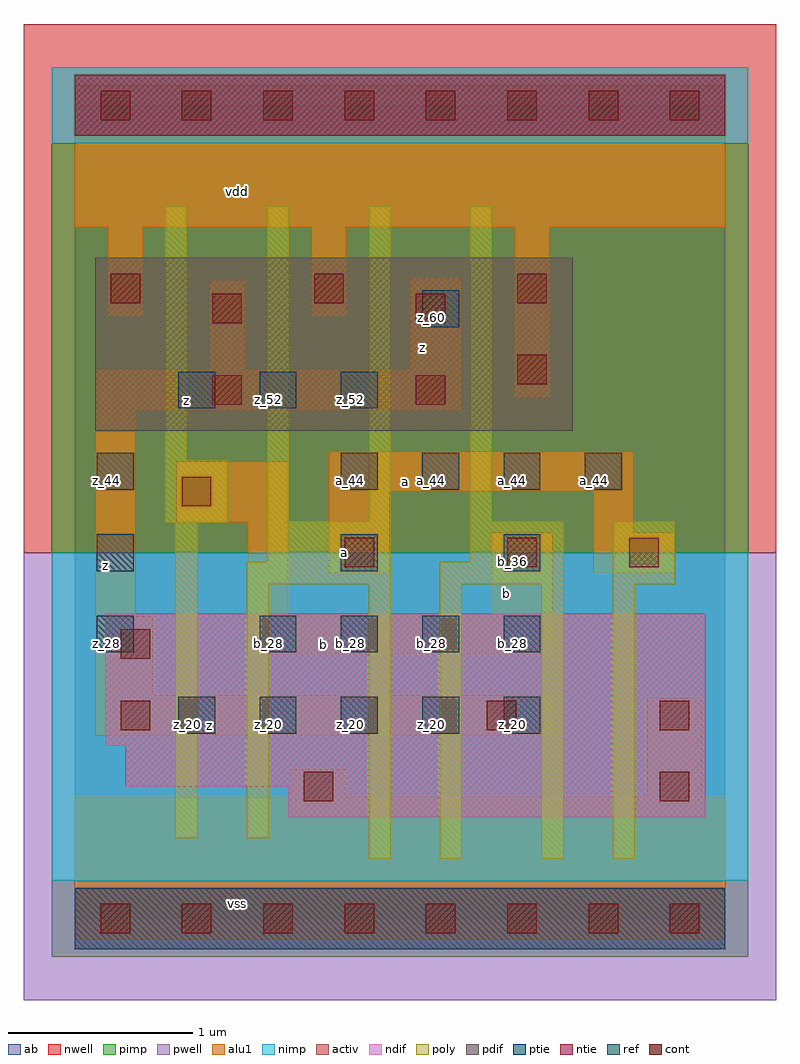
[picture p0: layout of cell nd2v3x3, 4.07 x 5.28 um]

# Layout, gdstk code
import gdstk
lib = gdstk.Library(unit=1e-6, precision=2.5e-09)
def R(c, l, rs):  # rectangles x0, y0, x1, y1
    for r in rs: c.add(gdstk.rectangle(r[:2], r[2:], *l))
def A(c, l, x, y, w, h, nx, ny, dx, dy):  # array of equal rectangles
    R(c, l, [(x+i*dx, y+j*dy, x+i*dx+w, y+j*dy+h) for i in range(nx) for j in range(ny)])
ndif = (3, 0)
pdif = (4, 0)
ntie = (5, 0)
ptie = (6, 0)
ref = (24, 0)
cont = (25, 0)
pwell = (41, 0)
nwell = (42, 0)
activ = (43, 0)
pimp = (44, 0)
nimp = (45, 0)
poly = (46, 0)
alu1 = (49, 0)
ab = (63, 0)

nd2v3x3 = lib.new_cell('nd2v3x3')
R(nd2v3x3, ndif, [(1.155,0.55,3.41,0.715), (0.275,0.715,3.41,0.935), (0.165,0.935,3.41,1.65)])
R(nd2v3x3, pdif, [(0.11,2.64,2.695,3.575)])
R(nd2v3x3, ntie, [(0,4.235,3.52,4.565)])
R(nd2v3x3, ptie, [(0,-0.165,3.52,0.165)])
A(nd2v3x3, ref, 0.56, 1, 0.2, 0.2, 5, 1, 0.44, 0)
A(nd2v3x3, ref, 0.12, 1.44, 0.2, 0.2, 1, 3, 0, 0.44)
A(nd2v3x3, ref, 1, 1.44, 0.2, 0.2, 4, 1, 0.44, 0)
A(nd2v3x3, ref, 1.44, 2.32, 0.2, 0.2, 4, 1, 0.44, 0)
A(nd2v3x3, ref, 0.56, 2.76, 0.2, 0.2, 3, 1, 0.44, 0)
R(nd2v3x3, ref, [(1.44,1.88,1.64,2.08), (2.32,1.88,2.52,2.08), (1.88,3.2,2.08,3.4)])
A(nd2v3x3, cont, 0.14, -0.08, 0.16, 0.16, 8, 2, 0.44, 4.4)
A(nd2v3x3, cont, 0.195, 3.33, 0.16, 0.16, 3, 1, 1.1, 0)
R(nd2v3x3, cont, [(1.24,0.635,1.4,0.795), (3.165,0.635,3.325,0.795), (0.25,1.02,0.41,1.18), (2.23,1.02,2.39,1.18), (3.165,1.02,3.325,1.18), (0.25,1.405,0.41,1.565), (1.46,1.9,1.62,2.06), (2.34,1.9,2.5,2.06), (3,1.9,3.16,2.06), (0.58,2.23,0.74,2.39), (0.745,2.78,0.905,2.94), (1.845,2.78,2.005,2.94), (2.395,2.89,2.555,3.05), (0.745,3.22,0.905,3.38), (1.845,3.22,2.005,3.38)])
R(nd2v3x3, pwell, [(-0.275,-0.44,3.795,1.98)])
R(nd2v3x3, nwell, [(-0.275,1.98,3.795,4.84)])
R(nd2v3x3, activ, [(0,-0.165,3.52,0.165), (1.155,0.55,3.41,0.715), (0.275,0.715,3.41,0.935), (0.165,0.935,3.41,1.65), (0.11,2.64,2.695,3.575), (0,4.235,3.52,4.565)])
R(nd2v3x3, pimp, [(-0.125,-0.205,3.645,0.205), (-0.125,1.98,3.645,4.195)])
R(nd2v3x3, nimp, [(-0.125,0.205,3.645,1.98), (-0.125,4.195,3.645,4.605)])
A(nd2v3x3, poly, 1.04, 2.15, 0.12, 1.705, 3, 1, 0.55, 0)
R(nd2v3x3, poly, [(1.59,0.325,1.71,1.81), (1.975,0.325,2.095,1.81), (2.525,0.325,2.645,1.81), (2.91,0.325,3.03,1.81), (0.545,0.435,0.665,2.14), (0.93,0.435,1.05,1.81), (0.93,1.81,1.71,1.93), (1.975,1.81,2.645,1.93), (2.91,1.81,3.25,2.15), (1.04,1.93,1.71,2.15), (2.14,1.93,2.645,2.15), (0.49,2.14,0.83,2.48), (0.49,2.48,0.61,3.855)])
R(nd2v3x3, alu1, [(0,-0.11,3.52,0.66), (1.17,0.66,1.47,0.81), (3.095,0.66,3.395,1.195), (0.11,0.99,2.585,1.21), (0.11,1.21,0.425,1.635), (0.935,1.43,2.585,1.65), (0.11,1.635,0.33,2.75), (0.935,1.65,1.155,2.145), (2.255,1.65,2.585,2.09), (1.375,1.87,1.705,2.31), (2.805,1.87,3.245,2.09), (2.805,2.09,3.025,2.31), (0.55,2.145,1.155,2.475), (1.375,2.31,3.025,2.53), (0.11,2.75,2.09,2.97), (2.38,2.82,2.57,3.74), (0.73,2.97,0.92,3.45), (1.815,2.97,2.09,3.465), (0.18,3.26,0.37,3.74), (1.28,3.26,1.47,3.74), (0,3.74,3.52,4.51)])
R(nd2v3x3, ab, [(0,0,3.52,4.4)])
nd2v3x3.add(gdstk.Label('vss', (0.88,0.0825), layer=49, texttype=0))
nd2v3x3.add(gdstk.Label('z', (0.7275,1.045), layer=49, texttype=0))
nd2v3x3.add(gdstk.Label('b', (1.3475,1.485), layer=49, texttype=0))
nd2v3x3.add(gdstk.Label('b', (2.3375,1.76), layer=49, texttype=0))
nd2v3x3.add(gdstk.Label('a', (1.4575,1.98), layer=49, texttype=0))
nd2v3x3.add(gdstk.Label('a', (1.7875,2.365), layer=49, texttype=0))
nd2v3x3.add(gdstk.Label('z', (0.165,1.9125), layer=49, texttype=0))
nd2v3x3.add(gdstk.Label('z', (0.605,2.805), layer=49, texttype=0))
nd2v3x3.add(gdstk.Label('z', (1.8825,3.0925), layer=49, texttype=0))
nd2v3x3.add(gdstk.Label('vdd', (0.88,3.9325), layer=49, texttype=0))
nd2v3x3.add(gdstk.Label('z_20', (0.61,1.05), layer=24, texttype=0))
nd2v3x3.add(gdstk.Label('z_52', (0.61,2.81), layer=24, texttype=0))
nd2v3x3.add(gdstk.Label('z_20', (1.05,1.05), layer=24, texttype=0))
nd2v3x3.add(gdstk.Label('b_28', (1.05,1.49), layer=24, texttype=0))
nd2v3x3.add(gdstk.Label('z_52', (1.05,2.81), layer=24, texttype=0))
nd2v3x3.add(gdstk.Label('z_20', (1.49,1.05), layer=24, texttype=0))
nd2v3x3.add(gdstk.Label('b_28', (1.49,1.49), layer=24, texttype=0))
nd2v3x3.add(gdstk.Label('a_36', (1.49,1.93), layer=24, texttype=0))
nd2v3x3.add(gdstk.Label('a_44', (1.49,2.37), layer=24, texttype=0))
nd2v3x3.add(gdstk.Label('z_52', (1.49,2.81), layer=24, texttype=0))
nd2v3x3.add(gdstk.Label('z_20', (1.93,1.05), layer=24, texttype=0))
nd2v3x3.add(gdstk.Label('b_28', (1.93,1.49), layer=24, texttype=0))
nd2v3x3.add(gdstk.Label('a_44', (1.93,2.37), layer=24, texttype=0))
nd2v3x3.add(gdstk.Label('z_60', (1.93,3.25), layer=24, texttype=0))
nd2v3x3.add(gdstk.Label('z_28', (0.17,1.49), layer=24, texttype=0))
nd2v3x3.add(gdstk.Label('z_36', (0.17,1.93), layer=24, texttype=0))
nd2v3x3.add(gdstk.Label('z_44', (0.17,2.37), layer=24, texttype=0))
nd2v3x3.add(gdstk.Label('z_20', (2.37,1.05), layer=24, texttype=0))
nd2v3x3.add(gdstk.Label('b_28', (2.37,1.49), layer=24, texttype=0))
nd2v3x3.add(gdstk.Label('b_36', (2.37,1.93), layer=24, texttype=0))
nd2v3x3.add(gdstk.Label('a_44', (2.37,2.37), layer=24, texttype=0))
nd2v3x3.add(gdstk.Label('a_44', (2.81,2.37), layer=24, texttype=0))

lib.write_gds('nd2v3x3.gds')
